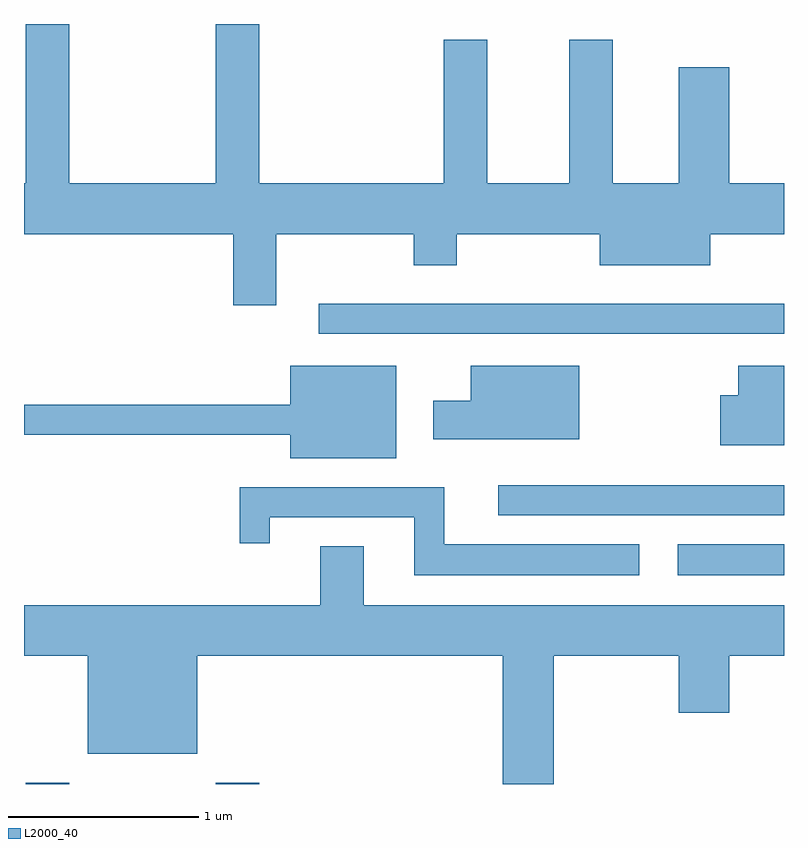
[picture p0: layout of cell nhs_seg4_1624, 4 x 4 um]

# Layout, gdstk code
import gdstk
lib = gdstk.Library(unit=1e-6, precision=1e-09)
def R(c, l, rs):  # rectangles x0, y0, x1, y1
    for r in rs: c.add(gdstk.rectangle(r[:2], r[2:], *l))
def P(c, l, *ps):  # polygons
    for p in ps: c.add(gdstk.Polygon(p, *l))
L2000_40 = (2000, 40)

nhs_seg4_1624 = lib.new_cell('nhs_seg4_1624')
R(nhs_seg4_1624, L2000_40, [(231.621,1373.982,231.849,1373.989), (232.621,1373.982,232.849,1373.989), (235.053,1375.081,235.611,1375.244), (234.108,1375.396,235.611,1375.554), (233.163,1376.351,235.611,1376.509)])
P(nhs_seg4_1624, L2000_40, [(232.939,1376.876),(233.661,1376.876),(233.661,1376.711),(233.889,1376.711),(233.889,1376.876),(234.641,1376.876),(234.641,1376.711),(235.224,1376.711),(235.224,1376.876),(235.611,1376.876),(235.611,1377.144),(235.324,1377.144),(235.324,1377.754),(235.056,1377.754),(235.056,1377.144),(234.709,1377.144),(234.709,1377.899),(234.481,1377.899),(234.481,1377.144),(234.049,1377.144),(234.049,1377.899),(233.821,1377.899),(233.821,1377.144),(232.849,1377.144),(232.849,1377.982),(232.621,1377.982),(232.621,1377.144),(231.849,1377.144),(231.849,1377.982),(231.621,1377.982),(231.621,1377.144),(231.611,1377.144),(231.611,1376.876),(232.711,1376.876),(232.711,1376.501),(232.939,1376.501)],
  [(233.569,1376.184),(233.011,1376.184),(233.011,1375.979),(231.611,1375.979),(231.611,1375.821),(233.011,1375.821),(233.011,1375.696),(233.569,1375.696)],
  [(235.611,1376.184),(235.371,1376.184),(235.371,1376.029),(235.276,1376.029),(235.276,1375.766),(235.611,1375.766)],
  [(234.534,1376.184),(233.961,1376.184),(233.961,1375.999),(233.766,1375.999),(233.766,1375.796),(234.534,1375.796)],
  [(234.848,1375.244),(233.824,1375.244),(233.824,1375.544),(232.746,1375.544),(232.746,1375.248),(232.904,1375.248),(232.904,1375.386),(233.666,1375.386),(233.666,1375.081),(234.848,1375.081)],
  [(234.399,1374.656),(235.056,1374.656),(235.056,1374.356),(235.324,1374.356),(235.324,1374.656),(235.611,1374.656),(235.611,1374.924),(233.399,1374.924),(233.399,1375.234),(233.171,1375.234),(233.171,1374.924),(231.611,1374.924),(231.611,1374.656),(231.946,1374.656),(231.946,1374.141),(232.524,1374.141),(232.524,1374.656),(234.131,1374.656),(234.131,1373.982),(234.399,1373.982)])

lib.write_gds('nhs_seg4_1624.gds')
